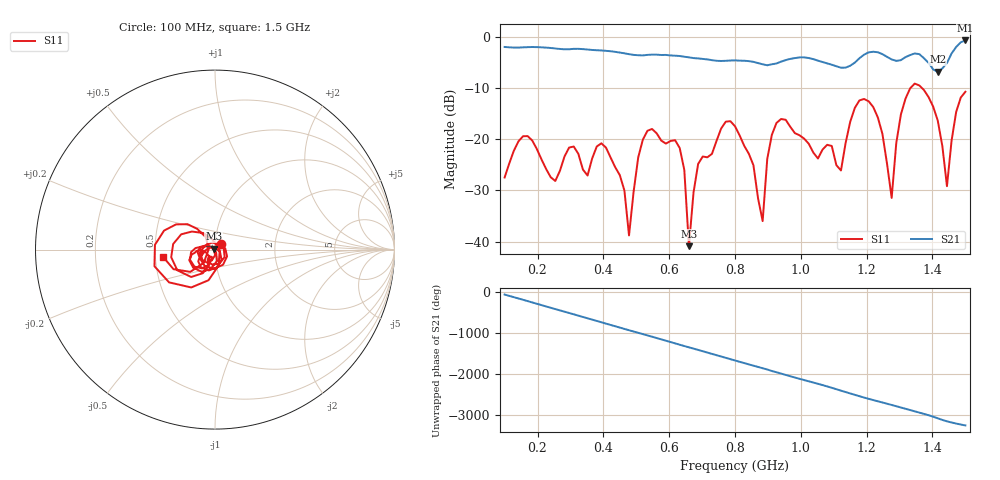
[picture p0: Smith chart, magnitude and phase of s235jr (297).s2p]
! NanoVNA-App
! Date: 2025-09-25 15:06:28
! Start: 100MHz Stop: 1,5GHz Points: 101
! S-Parameter data: F S11 S21 S12 S22
# Hz S RI R 50
!  Frequency  S11_Real  S11_Imag  S21_Real  S21_Imag  S12_Real  S12_Imag  S22_Real  S22_Imag
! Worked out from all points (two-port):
!   101 points, 100 MHz to 1.5 GHz, reference 50 ohm
!   highest |S21| = -0.69 dB at 1.5 GHz (marker M1); lowest = -6.8 dB at 1.416 GHz (marker M2)
!   |S21| within 3 dB of the highest: start of sweep to 623.2 MHz; 1.188 GHz to 1.257 GHz (68.97 MHz wide, 5.64 % of centre) (the widest 2 of 4)
!   lowest |S11| = -40.9 dB at 660 MHz (marker M3), VSWR 1.02, Z = 49.3 + j0.528 ohm
!   |S11| at or under -10 dB: start of sweep to 1.333 GHz; 1.368 GHz to end of sweep
!   S12 and S22 are empty: the file has one direction only
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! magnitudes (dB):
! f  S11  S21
! 100 MHz  -27.5  -2.0
! 156 MHz  -19.4  -2.0
! 338 MHz  -25.9  -2.4
! 408 MHz  -21.6  -2.7
! 478 MHz  -38.8  -3.4
! 520 MHz  -20.1  -3.6
! 576 MHz  -20.3  -3.5
! 632 MHz  -21.7  -3.7
! 660 MHz  -40.9  -4.0
! 688 MHz  -24.8  -4.2
! 800 MHz  -17.5  -4.6
! 884 MHz  -36.0  -5.4
! 898 MHz  -23.8  -5.5
! 926 MHz  -16.8  -5.2
! 1.038 GHz  -22.6  -4.3
! 1.122 GHz  -26.1  -6.0
! 1.206 GHz  -12.6  -3.0
! 1.276 GHz  -31.5  -4.4
! 1.332 GHz  -10.1  -3.6
! 1.416 GHz  -16.3  -6.8
! 1.444 GHz  -29.2  -5.1
! 1.5 GHz  -10.7  -0.7
